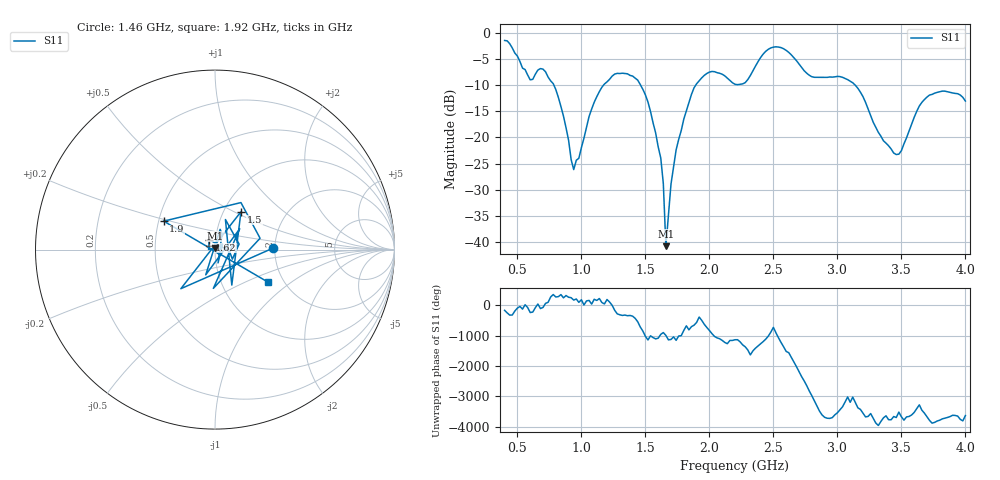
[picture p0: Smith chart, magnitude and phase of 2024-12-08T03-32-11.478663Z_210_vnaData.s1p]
!Created with skrf (http://scikit-rf.org).
# Hz S RI R 50.0
!freq ReS11 ImS11
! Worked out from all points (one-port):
!   181 points, 400 MHz to 4 GHz, reference 50 ohm
!   lowest |S11| = -40.9 dB at 1.66 GHz (marker M1), VSWR 1.02, Z = 50.1 + j0.904 ohm
!   |S11| at or under -10 dB: 785.7 MHz to 1.172 GHz (386.2 MHz wide, 39.5 % of centre); 1.463 GHz to 1.892 GHz (429.4 MHz wide, 25.6 % of centre); 3.141 GHz to end of sweep
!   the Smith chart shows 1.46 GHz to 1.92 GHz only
!   S11 on the Smith chart (normalised r, x): 1.46 GHz: 1.95, +0.03; 1.5 GHz: 1.20, +0.54; 1.62 GHz: 0.93, +0.10; 1.9 GHz: 0.53, +0.19; 1.92 GHz: 1.67, -0.69
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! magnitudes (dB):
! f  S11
! 400 MHz  -1.4
! 600 MHz  -8.9
! 720 MHz  -7.4
! 860 MHz  -15.9
! 940 MHz  -26.2
! 1.12 GHz  -12.2
! 1.3 GHz  -7.7
! 1.46 GHz  -9.9
! 1.5 GHz  -11.8
! 1.62 GHz  -23.9
! 1.64 GHz  -28.9
! 1.66 GHz  -40.9
! 1.7 GHz  -28.9
! 1.76 GHz  -20.4
! 1.9 GHz  -9.7
! 1.92 GHz  -9.1
! 2.02 GHz  -7.3
! 2.2 GHz  -9.8
! 2.28 GHz  -9.5
! 2.48 GHz  -2.8
! 2.66 GHz  -4.7
! 2.8 GHz  -8.4
! 3.1 GHz  -9.2
! 3.44 GHz  -23.0
! 3.5 GHz  -22.5
! 3.56 GHz  -18.7
! 3.72 GHz  -11.9
! 4 GHz  -13.0
